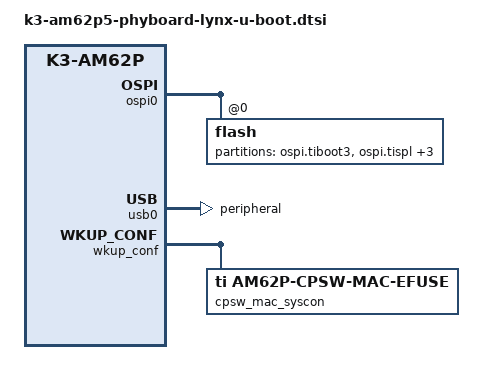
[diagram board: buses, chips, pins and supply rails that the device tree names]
// SPDX-License-Identifier: GPL-2.0-only OR MIT
/*
 * Common AM62Px phyBOARD-Lynx dts file for SPLs
 * Copyright (C) 2025 PHYTEC America LLC - https://www.phytec.com/
 */

#include "k3-am62p-phycore-som-binman.dtsi"

/ {
	chosen {
		stdout-path = "serial2:115200n8";
		tick-timer = &main_timer0;
	};
};

&cpsw3g {
	ethernet-ports {
		bootph-all;
	};
};

&cpsw3g_mdio {
	bootph-all;
};

&cpsw3g_phy1{
	bootph-all;
};

&cpsw_port1 {
	ti,syscon-efuse = <&cpsw_mac_syscon 0x0>;
	bootph-all;
};

&dmsc {
	bootph-pre-ram;
};

&main_pktdma {
	bootph-all;
};

&main_mdio0_pins_default {
	bootph-all;
};

&ospi0 {
	flash@0 {
		partitions {
			compatible = "fixed-partitions";
			#address-cells = <1>;
			#size-cells = <1>;

			partition@0 {
				label = "ospi.tiboot3";
				reg = <0x00000 0x80000>;
			};
			partition@80000 {
				label = "ospi.tispl";
				reg = <0x080000 0x200000>;
			};
			partition@280000 {
				label = "ospi.u-boot";
				reg = <0x280000 0x400000>;
			};
			partition@680000 {
				label = "ospi.env";
				reg = <0x680000 0x40000>;
			};
			partition@6c0000 {
				label = "ospi.env.backup";
				reg = <0x6c0000 0x40000>;
			};
		};
	};
};

&cpsw3g_phy1 {
	bootph-all;
};

&phy_gmii_sel {
	bootph-all;
};

&main_rgmii1_pins_default {
	bootph-all;
};

/* Required for USB DFU Boot */
&usb0 {
	/* Enable peripheral mode only during bootup
	 * to support DFU while allowing Linux to stay
	 * in OTG mode
	 */
	dr_mode = "peripheral";
};

&wkup_conf {
	cpsw_mac_syscon: ethernet-mac-syscon@200 {
		compatible = "ti,am62p-cpsw-mac-efuse", "syscon";
		reg = <0x200 0x8>;
		bootph-all;
	};
};
